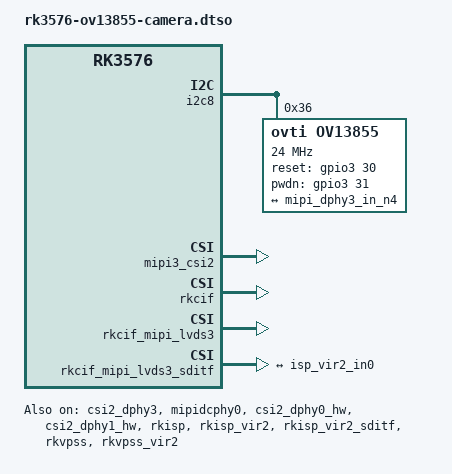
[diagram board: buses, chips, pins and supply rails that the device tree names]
// SPDX-License-Identifier: (GPL-2.0+ OR MIT)
/* MYD-LR3576 CAM3 OV13855 -> CSI2 DPHY3 -> rkcif -> rkisp -> rkvpss. */

/dts-v1/;
/plugin/;

/ {
	compatible = "rockchip,rk3576-evb1-v10", "rockchip,rk3576";
};

/* CAM3 shares its lane and control GPIOs with the three Jaguar inputs. */
&jaguar_1 { status = "disabled"; };
&jaguar_2 { status = "disabled"; };
&jaguar_3 { status = "disabled"; };

&vcc_camera3 { status = "okay"; };
&csi2_dphy3 { status = "okay"; };

/* disable-DSI leaves the DSI route off. Camera DPHY3 still needs this PHY. */
&mipidcphy0 { status = "okay"; };
&csi2_dphy0_hw { status = "okay"; };
&csi2_dphy1_hw { status = "okay"; };
&i2c8 { status = "okay"; };
&mipi3_csi2 { status = "okay"; };
&rkcif { status = "okay"; };
&rkcif_mipi_lvds3 { status = "okay"; };
&rkcif_mmu { status = "okay"; };

&mipi_dphy3_in_n4 {
	remote-endpoint = <&ov13855_out>;
	data-lanes = <1 2 3 4>;
};

&i2c8 {
	ov13855: ov13855@36 {
		status = "okay";
		compatible = "ovti,ov13855";
		reg = <0x36>;
		clocks = <&clk_camera3_fixed>;
		clock-names = "xvclk";
		clock-frequency = <24000000>;
		power-domains = <&power 15>;
		pinctrl-names = "default";
		pinctrl-0 = <&camera3_default_pins>;
		/* The driver ends power_on with both logical values asserted. */
		reset-gpios = <&gpio3 30 0>;
		pwdn-gpios = <&gpio3 31 0>;
		rockchip,camera-module-index = <0>;
		rockchip,camera-module-facing = "back";
		rockchip,camera-module-name = "default";
		rockchip,camera-module-lens-name = "default";
		port {
			ov13855_out: endpoint {
				remote-endpoint = <&mipi_dphy3_in_n4>;
				data-lanes = <1 2 3 4>;
			};
		};
	};
};

&rkcif_mipi_lvds3_sditf {
	status = "okay";
	port {
		mipi_lvds3_sditf: endpoint {
			remote-endpoint = <&isp_vir2_in0>;
		};
	};
};

&rkisp { status = "okay"; };
&rkisp_mmu { status = "okay"; };
&rkisp_vir2 {
	status = "okay";
	port {
		#address-cells = <1>;
		#size-cells = <0>;
		isp_vir2_in0: endpoint@0 {
			reg = <0>;
			remote-endpoint = <&mipi_lvds3_sditf>;
		};
	};
};
&rkisp_vir2_sditf { status = "okay"; };
&rkvpss { status = "okay"; };
&rkvpss_mmu { status = "okay"; };
&rkvpss_vir2 { status = "okay"; };
